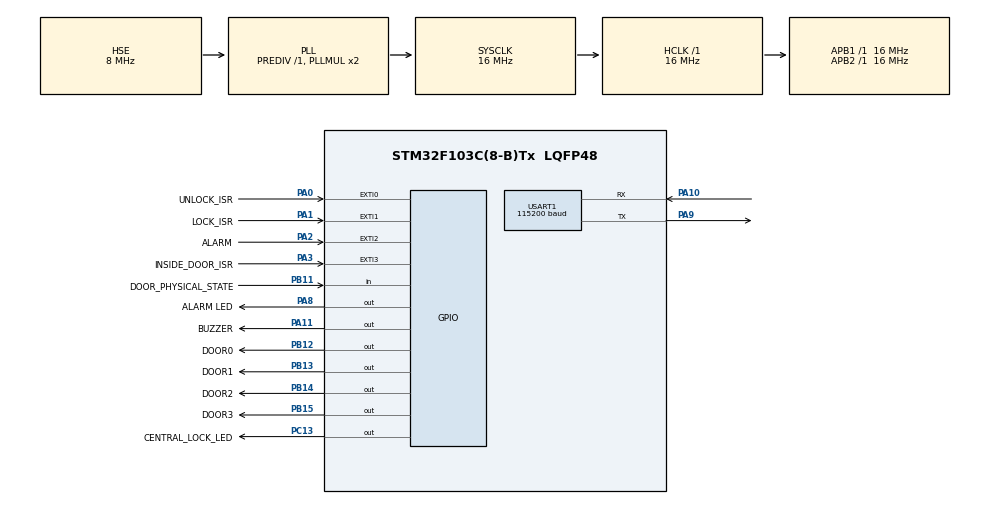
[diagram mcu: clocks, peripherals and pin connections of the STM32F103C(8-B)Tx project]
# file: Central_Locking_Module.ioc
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Mcu.Family=STM32F1
Mcu.Name=STM32F103C(8-B)Tx
Mcu.Package=LQFP48
NVIC.EXTI0_IRQn=true\:0\:0\:false\:false\:true\:true\:true\:true
NVIC.EXTI1_IRQn=true\:0\:0\:false\:false\:true\:true\:true\:true
NVIC.EXTI2_IRQn=true\:0\:0\:false\:false\:true\:true\:true\:true
NVIC.EXTI3_IRQn=true\:0\:0\:false\:false\:true\:true\:true\:true
NVIC.PriorityGroup=NVIC_PRIORITYGROUP_4
NVIC.USART1_IRQn=true\:0\:0\:false\:false\:true\:true\:true\:true
PA0-WKUP.GPIO_Label=UNLOCK_ISR
PA0-WKUP.GPIO_ModeDefaultEXTI=GPIO_MODE_IT_RISING
PA0-WKUP.GPIO_PuPd=GPIO_PULLDOWN
PA0-WKUP.Signal=GPXTI0
PA1.GPIO_Label=LOCK_ISR
PA1.GPIO_ModeDefaultEXTI=GPIO_MODE_IT_RISING
PA1.GPIO_PuPd=GPIO_PULLDOWN
PA1.Signal=GPXTI1
PA10.Mode=Asynchronous
PA10.Signal=USART1_RX
PA11.GPIO_Label=BUZZER
PA11.Signal=GPIO_Output
PA13.Mode=Serial_Wire
PA13.Signal=SYS_JTMS-SWDIO
PA14.Mode=Serial_Wire
PA14.Signal=SYS_JTCK-SWCLK
PA2.GPIO_Label=ALARM
PA2.GPIO_PuPd=GPIO_PULLDOWN
PA2.Signal=GPXTI2
PA3.GPIO_Label=INSIDE_DOOR_ISR
PA3.GPIO_ModeDefaultEXTI=GPIO_MODE_IT_RISING
PA3.GPIO_PuPd=GPIO_PULLDOWN
PA3.Signal=GPXTI3
PA8.GPIO_Label=ALARM LED
PA8.Signal=GPIO_Output
PA9.Mode=Asynchronous
PA9.Signal=USART1_TX
PB11.GPIO_Label=DOOR_PHYSICAL_STATE
PB11.Signal=GPIO_Input
PB12.GPIO_Label=DOOR0
PB12.Signal=GPIO_Output
PB13.GPIO_Label=DOOR1
PB13.Signal=GPIO_Output
PB14.GPIO_Label=DOOR2
PB14.Signal=GPIO_Output
PB15.GPIO_Label=DOOR3
PB15.Signal=GPIO_Output
PC13-TAMPER-RTC.GPIO_Label=CENTRAL_LOCK_LED
PC13-TAMPER-RTC.Signal=GPIO_Output
PD0-OSC_IN.Mode=HSE-External-Oscillator
PD0-OSC_IN.Signal=RCC_OSC_IN
PD1-OSC_OUT.Mode=HSE-External-Oscillator
PD1-OSC_OUT.Signal=RCC_OSC_OUT
ProjectManager.HeapSize=0x200
ProjectManager.StackSize=0x400
ProjectManager.TargetToolchain=STM32CubeIDE
RCC.AHBFreq_Value=16000000
RCC.APB1Freq_Value=16000000
RCC.APB1TimFreq_Value=16000000
RCC.APB2Freq_Value=16000000
RCC.APB2TimFreq_Value=16000000
RCC.HCLKFreq_Value=16000000
RCC.PLLSourceVirtual=RCC_PLLSOURCE_HSE
RCC.SYSCLKFreq_VALUE=16000000
RCC.SYSCLKSource=RCC_SYSCLKSOURCE_PLLCLK
RCC.USBFreq_Value=16000000
USART1.BaudRate=115200
USART1.VirtualMode=VM_ASYNC
board=custom

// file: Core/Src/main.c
/* USER CODE BEGIN Header */
/**
 ******************************************************************************
 * @file           : main.c
 * @brief          : Main program body
 ******************************************************************************
 * @attention
 *
 * Copyright (c) 2024 STMicroelectronics.
 * All rights reserved.
 *
 * This software is licensed under terms that can be found in the LICENSE file
 * in the root directory of this software component.
 * If no LICENSE file comes with this software, it is provided AS-IS.
 *
 ******************************************************************************
 */
/* USER CODE END Header */
#include "main.h"
#include "usart.h"
#include "gpio.h"

/* USER CODE BEGIN Includes */
#include "central_lock.h"
#include "HAL_flash.h"
/* USER CODE END Includes */

/* USER CODE BEGIN PV */
extern UART_HandleTypeDef huart1;
CentralLock_t centralLock;
/* USER CODE END PV */

void SystemClock_Config(void);

int main(void)
{
  /* USER CODE BEGIN 1 */
	LockState_t currentLockState;
	LockState_t prevLockState;
	PowerMode_t powerMode;
	bool codeReceivedFlag;
	CENTRALLOCK_StatusTypeDef CL_State;
	AlarmState_t alarmState;
  /* USER CODE END 1 */

  /* MCU Configuration--------------------------------------------------------*/

  /* Reset of all peripherals, Initializes the Flash interface and the Systick. */
  HAL_Init();

  /* Configure the system clock */
  SystemClock_Config();

  /* Initialize all configured peripherals */
  MX_GPIO_Init();
  MX_USART1_UART_Init();
  /* USER CODE BEGIN 2 */
	CL_State = CentralLock_Init(&centralLock);

  /* USER CODE END 2 */

  /* Infinite loop */
	while (1) {

    /* USER CODE BEGIN 3 */
		alarmState = centralLock.alarmState;
		if (alarmState == ACTIVE) {
			/*! <Simulate the Alaram action> */
			while (centralLock.alarmState == ACTIVE) {
				HAL_GPIO_WritePin(BUZZER_GPIO_Port, BUZZER_Pin, GPIO_PIN_SET);
				HAL_GPIO_TogglePin(ALARM_LED_GPIO_Port, ALARM_LED_Pin);
				HAL_Delay(500);
				HAL_GPIO_WritePin(BUZZER_GPIO_Port, BUZZER_Pin, GPIO_PIN_RESET);
				HAL_GPIO_TogglePin(ALARM_LED_GPIO_Port, ALARM_LED_Pin);
				HAL_Delay(500);
			}
		}

		currentLockState = centralLock.currentLockState;
		prevLockState = centralLock.prevLockState;

		if (currentLockState != prevLockState) {
			/*! <The car owner has locked or unlocked the car without key-less entry> */

			/*! <Just to indicate that some even has been happened> */
			CL_State = CentralLock_ChangeModuleLedState(&centralLock,
					MODULE_LED_ON);

			CL_State = CentralLock_DoorChangeState(&centralLock,
					currentLockState, KEY);

			/*! <Prepare the central lock module for sleep mode> */
			CL_State = CentralLock_SetPowerMode(&centralLock, AWAKE);
		}
		codeReceivedFlag = centralLock.codeReceivedFlag;
		if (codeReceivedFlag) {
			/*! <The car owner has locked or unlocked the car with key-less entry> */

			CL_State = CentralLock_SetCodeReceivedFlag(&centralLock, false);

			/*! <Just to indicate that some even has been happened> */
			CL_State = CentralLock_ChangeModuleLedState(&centralLock,
					MODULE_LED_ON);

			/*! <check for the correctness of the code send> */
			CL_State = CentralLock_GetCodeStatus(&centralLock);

			if (CL_State == CENTRALLOCK_OK) {
				CentralLock_DoorChangeState(&centralLock, UNLOCKED, KEYLESS);
			} else if (CL_State == CENTRALLOCK_OUTOFRANGE_CODE) {
			} else if (CL_State == CENTRALLOCK_UNVALID_CODE) {

			} else {
			}
			CentralLock_ClearCodeBuffer(&centralLock);

			/*! <Prepare the central lock module for sleep mode> */
			CL_State = CentralLock_SetPowerMode(&centralLock, AWAKE);
		}

#if (MODULE_ENEBLE_SLEEP)
		powerMode = centralLock.powerMode;
		if (powerMode == AWAKE) {

			/*! <Set the current power state of the central lock module> */
			CentralLock_SetPowerMode(&centralLock, SLEEP);

			HAL_Delay(1000);

			/*! <Just to indicate that some even has been happened> */
			CL_State = CentralLock_ChangeModuleLedState(&centralLock,
					MODULE_LED_BLINK);

			/*! <Disable the SysTick timer interrupts to not interrupt the processor
			 *  each 1ms (by default) and get out of the sleep mode >
			 */
			HAL_SuspendTick();

			/*! <Enter Sleep mode> */
			HAL_PWR_EnterSLEEPMode(PWR_MAINREGULATOR_ON, PWR_SLEEPENTRY_WFI);
		}
#endif
	}
  /* USER CODE END 3 */
}

void SystemClock_Config(void)
{
  RCC_OscInitTypeDef RCC_OscInitStruct = {0};
  RCC_ClkInitTypeDef RCC_ClkInitStruct = {0};

  /** Initializes the RCC Oscillators according to the specified parameters
  * in the RCC_OscInitTypeDef structure.
  */
  RCC_OscInitStruct.OscillatorType = RCC_OSCILLATORTYPE_HSE;
  RCC_OscInitStruct.HSEState = RCC_HSE_ON;
  RCC_OscInitStruct.HSEPredivValue = RCC_HSE_PREDIV_DIV1;
  RCC_OscInitStruct.HSIState = RCC_HSI_ON;
  RCC_OscInitStruct.PLL.PLLState = RCC_PLL_ON;
  RCC_OscInitStruct.PLL.PLLSource = RCC_PLLSOURCE_HSE;
  RCC_OscInitStruct.PLL.PLLMUL = RCC_PLL_MUL2;
  if (HAL_RCC_OscConfig(&RCC_OscInitStruct) != HAL_OK)
  {
    Error_Handler();
  }

  /** Initializes the CPU, AHB and APB buses clocks
  */
  RCC_ClkInitStruct.ClockType = RCC_CLOCKTYPE_HCLK|RCC_CLOCKTYPE_SYSCLK
                              |RCC_CLOCKTYPE_PCLK1|RCC_CLOCKTYPE_PCLK2;
  RCC_ClkInitStruct.SYSCLKSource = RCC_SYSCLKSOURCE_PLLCLK;
  RCC_ClkInitStruct.AHBCLKDivider = RCC_SYSCLK_DIV1;
  RCC_ClkInitStruct.APB1CLKDivider = RCC_HCLK_DIV1;
  RCC_ClkInitStruct.APB2CLKDivider = RCC_HCLK_DIV1;

  if (HAL_RCC_ClockConfig(&RCC_ClkInitStruct, FLASH_LATENCY_0) != HAL_OK)
  {
    Error_Handler();
  }
}

void Error_Handler(void)
{
	__disable_irq();
	while (1) {
	}
}
